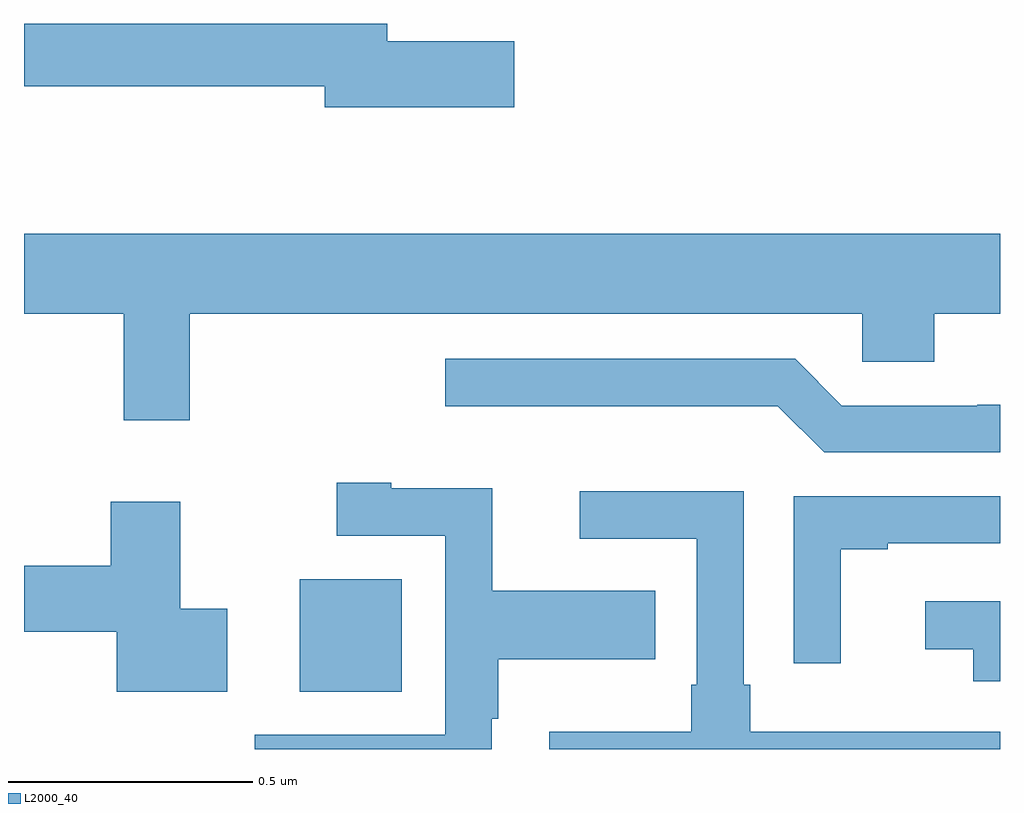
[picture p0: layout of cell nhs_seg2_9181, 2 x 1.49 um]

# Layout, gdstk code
import gdstk
lib = gdstk.Library(unit=1e-6, precision=1e-09)
def R(c, l, rs):  # rectangles x0, y0, x1, y1
    for r in rs: c.add(gdstk.rectangle(r[:2], r[2:], *l))
def P(c, l, *ps):  # polygons
    for p in ps: c.add(gdstk.Polygon(p, *l))
L2000_40 = (2000, 40)

nhs_seg2_9181 = lib.new_cell('nhs_seg2_9181')
R(nhs_seg2_9181, L2000_40, [(226.565,590.918,226.774,591.148)])
P(nhs_seg2_9181, L2000_40, [(227.005,592.25),(226.744,592.25),(226.744,592.286),(226,592.286),(226,592.158),(226.616,592.158),(226.616,592.115),(227.005,592.115)],
  [(226.34,591.692),(227.718,591.692),(227.718,591.594),(227.865,591.594),(227.865,591.692),(228,591.692),(228,591.856),(226,591.856),(226,591.692),(226.204,591.692),(226.204,591.474),(226.34,591.474)],
  [(228,591.506),(227.953,591.506),(227.953,591.504),(227.676,591.504),(227.58,591.6),(226.863,591.6),(226.863,591.503),(227.545,591.503),(227.64,591.408),(228,591.408)],
  [(226.959,590.862),(226.972,590.862),(226.972,590.984),(227.294,590.984),(227.294,591.124),(226.96,591.124),(226.96,591.334),(226.753,591.334),(226.753,591.346),(226.641,591.346),(226.641,591.237),(226.863,591.237),(226.863,590.829),(226.473,590.829),(226.473,590.8),(226.959,590.8)],
  [(228,590.836),(227.488,590.836),(227.488,590.932),(227.475,590.932),(227.475,591.328),(227.139,591.328),(227.139,591.231),(227.379,591.231),(227.379,590.932),(227.367,590.932),(227.367,590.836),(227.076,590.836),(227.076,590.8),(228,590.8)],
  [(227.674,591.21),(227.77,591.21),(227.77,591.222),(228,591.222),(228,591.318),(227.577,591.318),(227.577,590.976),(227.674,590.976)],
  [(226.417,591.088),(226.32,591.088),(226.32,591.307),(226.178,591.307),(226.178,591.176),(226,591.176),(226,591.04),(226.19,591.04),(226.19,590.918),(226.417,590.918)],
  [(228,591.103),(227.847,591.103),(227.847,591.005),(227.945,591.005),(227.945,590.939),(228,590.939)])

lib.write_gds('nhs_seg2_9181.gds')
